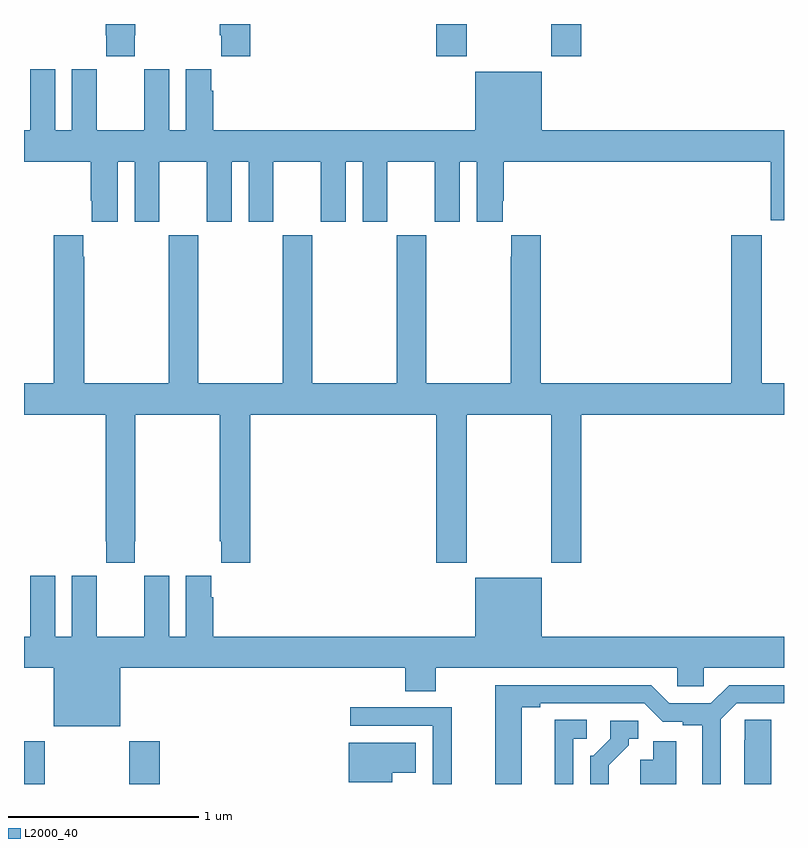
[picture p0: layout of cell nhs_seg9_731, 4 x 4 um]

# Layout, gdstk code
import gdstk
lib = gdstk.Library(unit=1e-6, precision=1e-09)
def R(c, l, rs):  # rectangles x0, y0, x1, y1
    for r in rs: c.add(gdstk.rectangle(r[:2], r[2:], *l))
def P(c, l, *ps):  # polygons
    for p in ps: c.add(gdstk.Polygon(p, *l))
L2000_40 = (2000, 40)

nhs_seg9_731 = lib.new_cell('nhs_seg9_731')
R(nhs_seg9_731, L2000_40, [(149,1170.5,149.109,1170.724), (149.554,1170.5,149.714,1170.724), (151.169,1174.329,151.329,1174.5), (151.774,1174.329,151.934,1174.5)])
P(nhs_seg9_731, L2000_40, [(150.191,1174.5),(150.031,1174.5),(150.031,1174.441),(150.037,1174.441),(150.037,1174.329),(150.191,1174.329)],
  [(149.583,1174.441),(149.586,1174.441),(149.586,1174.5),(149.431,1174.5),(149.431,1174.441),(149.433,1174.441),(149.433,1174.329),(149.583,1174.329)],
  [(149.351,1173.571),(149.357,1173.571),(149.357,1173.459),(149.494,1173.459),(149.494,1173.776),(149.582,1173.776),(149.582,1173.459),(149.713,1173.459),(149.713,1173.776),(149.963,1173.776),(149.963,1173.459),(150.094,1173.459),(150.094,1173.776),(150.182,1173.776),(150.182,1173.459),(150.313,1173.459),(150.313,1173.776),(150.563,1173.776),(150.563,1173.459),(150.694,1173.459),(150.694,1173.776),(150.782,1173.776),(150.782,1173.459),(150.913,1173.459),(150.913,1173.776),(151.163,1173.776),(151.163,1173.459),(151.294,1173.459),(151.294,1173.776),(151.382,1173.776),(151.382,1173.459),(151.519,1173.459),(151.519,1173.571),(151.526,1173.571),(151.526,1173.776),(152.93,1173.776),(152.93,1173.467),(153,1173.467),(153,1173.94),(151.726,1173.94),(151.726,1174.249),(151.376,1174.249),(151.376,1173.94),(149.996,1173.94),(149.996,1174.148),(149.986,1174.148),(149.986,1174.261),(149.852,1174.261),(149.852,1173.94),(149.764,1173.94),(149.764,1174.261),(149.634,1174.261),(149.634,1174.148),(149.633,1174.148),(149.633,1173.94),(149.383,1173.94),(149.383,1174.148),(149.382,1174.148),(149.382,1174.261),(149.252,1174.261),(149.252,1173.94),(149.164,1173.94),(149.164,1174.261),(149.034,1174.261),(149.034,1174.148),(149.033,1174.148),(149.033,1173.94),(149,1173.94),(149,1173.776),(149.351,1173.776)],
  [(149.583,1171.777),(149.586,1171.777),(149.586,1172.444),(150.031,1172.444),(150.031,1171.777),(150.037,1171.777),(150.037,1171.665),(150.191,1171.665),(150.191,1172.444),(151.169,1172.444),(151.169,1171.665),(151.329,1171.665),(151.329,1172.444),(151.774,1172.444),(151.774,1171.665),(151.934,1171.665),(151.934,1172.444),(153,1172.444),(153,1172.608),(152.883,1172.608),(152.883,1173.388),(152.723,1173.388),(152.723,1172.608),(151.721,1172.608),(151.721,1173.388),(151.565,1173.388),(151.565,1173.275),(151.561,1173.275),(151.561,1172.608),(151.116,1172.608),(151.116,1173.388),(150.961,1173.388),(150.961,1172.608),(150.516,1172.608),(150.516,1173.388),(150.361,1173.388),(150.361,1172.608),(149.916,1172.608),(149.916,1173.388),(149.761,1173.388),(149.761,1172.608),(149.316,1172.608),(149.316,1173.275),(149.311,1173.275),(149.311,1173.388),(149.156,1173.388),(149.156,1172.608),(149,1172.608),(149,1172.444),(149.431,1172.444),(149.431,1171.777),(149.433,1171.777),(149.433,1171.665),(149.583,1171.665)],
  [(149.506,1171.112),(151.007,1171.112),(151.007,1170.988),(151.167,1170.988),(151.167,1171.112),(152.439,1171.112),(152.439,1171.014),(152.577,1171.014),(152.577,1171.112),(153,1171.112),(153,1171.276),(151.726,1171.276),(151.726,1171.585),(151.376,1171.585),(151.376,1171.276),(149.996,1171.276),(149.996,1171.484),(149.986,1171.484),(149.986,1171.597),(149.852,1171.597),(149.852,1171.276),(149.764,1171.276),(149.764,1171.597),(149.634,1171.597),(149.634,1171.484),(149.633,1171.484),(149.633,1171.276),(149.383,1171.276),(149.383,1171.484),(149.382,1171.484),(149.382,1171.597),(149.252,1171.597),(149.252,1171.276),(149.164,1171.276),(149.164,1171.597),(149.034,1171.597),(149.034,1171.484),(149.033,1171.484),(149.033,1171.276),(149,1171.276),(149,1171.112),(149.156,1171.112),(149.156,1170.803),(149.506,1170.803)],
  [(151.621,1170.904),(151.717,1170.904),(151.717,1170.924),(152.265,1170.924),(152.361,1170.828),(152.466,1170.828),(152.466,1170.808),(152.57,1170.808),(152.57,1170.5),(152.667,1170.5),(152.667,1170.84),(152.751,1170.924),(153,1170.924),(153,1171.02),(152.711,1171.02),(152.615,1170.924),(152.397,1170.924),(152.301,1171.02),(151.481,1171.02),(151.481,1170.5),(151.621,1170.5)],
  [(151.251,1170.903),(150.717,1170.903),(150.717,1170.807),(151.152,1170.807),(151.152,1170.5),(151.251,1170.5)],
  [(151.89,1170.738),(151.963,1170.738),(151.963,1170.839),(151.793,1170.839),(151.793,1170.5),(151.89,1170.5)],
  [(152.932,1170.839),(152.793,1170.839),(152.793,1170.731),(152.792,1170.731),(152.792,1170.5),(152.932,1170.5)],
  [(152.077,1170.598),(152.182,1170.703),(152.182,1170.738),(152.232,1170.738),(152.232,1170.834),(152.085,1170.834),(152.085,1170.738),(151.995,1170.648),(151.98,1170.648),(151.98,1170.5),(152.077,1170.5)],
  [(152.434,1170.726),(152.312,1170.726),(152.312,1170.628),(152.243,1170.628),(152.243,1170.5),(152.434,1170.5)],
  [(150.937,1170.56),(151.063,1170.56),(151.063,1170.718),(150.71,1170.718),(150.71,1170.509),(150.937,1170.509)])

lib.write_gds('nhs_seg9_731.gds')
